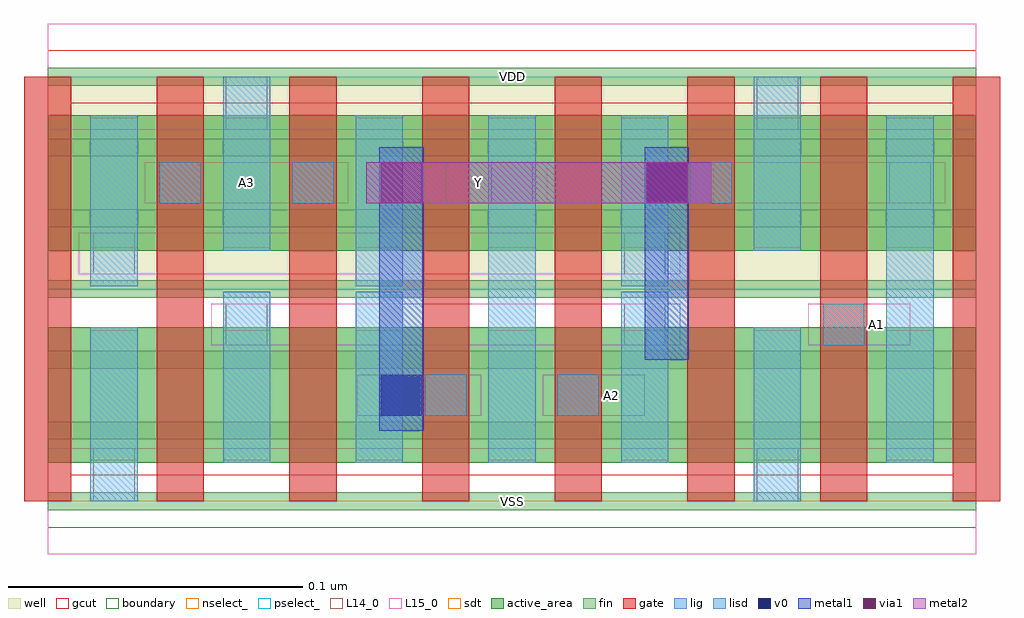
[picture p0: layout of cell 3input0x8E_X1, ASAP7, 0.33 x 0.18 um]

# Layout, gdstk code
import gdstk
lib = gdstk.Library(unit=1e-6, precision=2.5e-10)
def R(c, l, rs):  # rectangles x0, y0, x1, y1
    for r in rs: c.add(gdstk.rectangle(r[:2], r[2:], *l))
def A(c, l, x, y, w, h, nx, ny, dx, dy):  # array of equal rectangles
    R(c, l, [(x+i*dx, y+j*dy, x+i*dx+w, y+j*dy+h) for i in range(nx) for j in range(ny)])
def P(c, l, *ps):  # polygons
    for p in ps: c.add(gdstk.Polygon(p, *l))
well = (1, 0)
fin = (2, 0)
gate = (7, 0)
gcut = (10, 0)
active_area = (11, 0)
nselect_ = (12, 0)
pselect_ = (13, 0)
L14_0 = (14, 0)
L15_0 = (15, 0)
lig = (16, 0)
lisd = (17, 0)
v0 = (18, 0)
metal1 = (19, 0)
metal2 = (20, 0)
via1 = (21, 0)
sdt = (88, 0)
boundary = (100, 0)

c_3input0x8e_x1 = lib.new_cell('3input0x8E_X1')
R(c_3input0x8e_x1, well, [(0,0.072,0.315,0.144)])
A(c_3input0x8e_x1, fin, 0, -0.003, 0.315, 0.006, 1, 7, 0, 0.024)
A(c_3input0x8e_x1, gate, -0.008, 0, 0.016, 0.144, 8, 1, 0.045, 0)
P(c_3input0x8e_x1, gcut, [(0,-0.009),(0,0),(-0.008,0),(-0.008,0.135),(0.008,0.135),(0.008,0.009),(0.307,0.009),(0.307,0.135),(-0.008,0.135),(-0.008,0.144),(0,0.144),(0,0.153),(0.315,0.153),(0.315,0.144),(0.323,0.144),(0.323,0),(0.315,0),(0.315,-0.009)])
R(c_3input0x8e_x1, active_area, [(0,0.013,0.315,0.059), (0,0.085,0.315,0.131)])
R(c_3input0x8e_x1, nselect_, [(0,0,0.315,0.072)])
R(c_3input0x8e_x1, pselect_, [(0,0.072,0.315,0.144)])
A(c_3input0x8e_x1, L14_0, 0.083, 0.101, 0.014, 0.014, 4, 1, 0.0675, 0)
R(c_3input0x8e_x1, L14_0, [(0.0155,0,0.0295,0.018), (0.2405,0,0.2545,0.018), (0.128,0.029,0.142,0.043), (0.173,0.029,0.187,0.043), (0.0605,0.053,0.0745,0.067), (0.1955,0.053,0.2095,0.067), (0.263,0.053,0.277,0.067), (0.0155,0.077,0.0295,0.091), (0.1955,0.077,0.2095,0.091), (0.038,0.101,0.052,0.115), (0.0605,0.126,0.0745,0.144), (0.2405,0.126,0.2545,0.144)])
R(c_3input0x8e_x1, L15_0, [(0,-0.018,0.315,0.018), (0.105,0.029,0.147,0.043), (0.168,0.029,0.2025,0.043), (0.0555,0.053,0.2145,0.067), (0.258,0.053,0.2925,0.067), (0.0105,0.077,0.2145,0.091), (0.033,0.101,0.102,0.115), (0.135,0.101,0.1695,0.115), (0.195,0.101,0.3045,0.115), (0,0.126,0.315,0.162)])
R(c_3input0x8e_x1, lig, [(0.128,0.029,0.142,0.043), (0.173,0.029,0.187,0.043), (0.263,0.053,0.277,0.067), (0.038,0.101,0.052,0.115), (0.083,0.101,0.097,0.115), (0.218,0.101,0.232,0.115)])
A(c_3input0x8e_x1, lisd, 0.0145, 0.073, 0.016, 0.058, 3, 1, 0.09, 0)
R(c_3input0x8e_x1, lisd, [(0.0145,0,0.0305,0.059), (0.2395,0,0.2555,0.059), (0.0595,0.013,0.0755,0.071), (0.1045,0.013,0.1205,0.071), (0.1495,0.013,0.1655,0.131), (0.1945,0.013,0.2105,0.071), (0.2845,0.013,0.3005,0.131), (0.0595,0.085,0.0755,0.144), (0.2395,0.085,0.2555,0.144)])
R(c_3input0x8e_x1, v0, [(0.113,0.029,0.127,0.043), (0.203,0.101,0.217,0.115)])
R(c_3input0x8e_x1, metal1, [(0.1125,0.024,0.1275,0.12), (0.2025,0.048,0.2175,0.12)])
R(c_3input0x8e_x1, metal2, [(0.108,0.101,0.225,0.115)])
R(c_3input0x8e_x1, via1, [(0.113,0.101,0.127,0.115), (0.203,0.101,0.217,0.115)])
A(c_3input0x8e_x1, sdt, 0.0145, 0.014, 0.016, 0.044, 7, 2, 0.045, 0.072)
R(c_3input0x8e_x1, boundary, [(0,0,0.315,0.144)])
c_3input0x8e_x1.add(gdstk.Label('A2', (0.1913,0.036), layer=15, texttype=251))
c_3input0x8e_x1.add(gdstk.Label('VSS', (0.1575,0), layer=15, texttype=251))
c_3input0x8e_x1.add(gdstk.Label('VDD', (0.1575,0.144), layer=15, texttype=251))
c_3input0x8e_x1.add(gdstk.Label('Y', (0.1462,0.108), layer=15, texttype=251))
c_3input0x8e_x1.add(gdstk.Label('VSS', (0.1575,0), layer=15, texttype=251))
c_3input0x8e_x1.add(gdstk.Label('VDD', (0.1575,0.144), layer=15, texttype=251))
c_3input0x8e_x1.add(gdstk.Label('A3', (0.0675,0.108), layer=15, texttype=251))
c_3input0x8e_x1.add(gdstk.Label('VSS', (0.1575,0), layer=15, texttype=251))
c_3input0x8e_x1.add(gdstk.Label('VDD', (0.1575,0.144), layer=15, texttype=251))
c_3input0x8e_x1.add(gdstk.Label('A1', (0.2812,0.06), layer=15, texttype=251))
c_3input0x8e_x1.add(gdstk.Label('VSS', (0.1575,0), layer=15, texttype=251))
c_3input0x8e_x1.add(gdstk.Label('VDD', (0.1575,0.144), layer=15, texttype=251))
c_3input0x8e_x1.add(gdstk.Label('VSS', (0.1575,0), layer=3, texttype=251))
c_3input0x8e_x1.add(gdstk.Label('VSS', (0.1575,0), layer=3, texttype=251))
c_3input0x8e_x1.add(gdstk.Label('VSS', (0.1575,0), layer=3, texttype=251))
c_3input0x8e_x1.add(gdstk.Label('VSS', (0.1575,0), layer=3, texttype=251))
c_3input0x8e_x1.add(gdstk.Label('VDD', (0.1575,0.144), layer=1, texttype=251))
c_3input0x8e_x1.add(gdstk.Label('VDD', (0.1575,0.144), layer=1, texttype=251))
c_3input0x8e_x1.add(gdstk.Label('VDD', (0.1575,0.144), layer=1, texttype=251))
c_3input0x8e_x1.add(gdstk.Label('VDD', (0.1575,0.144), layer=1, texttype=251))

lib.write_gds('3input0x8E_X1.gds')
